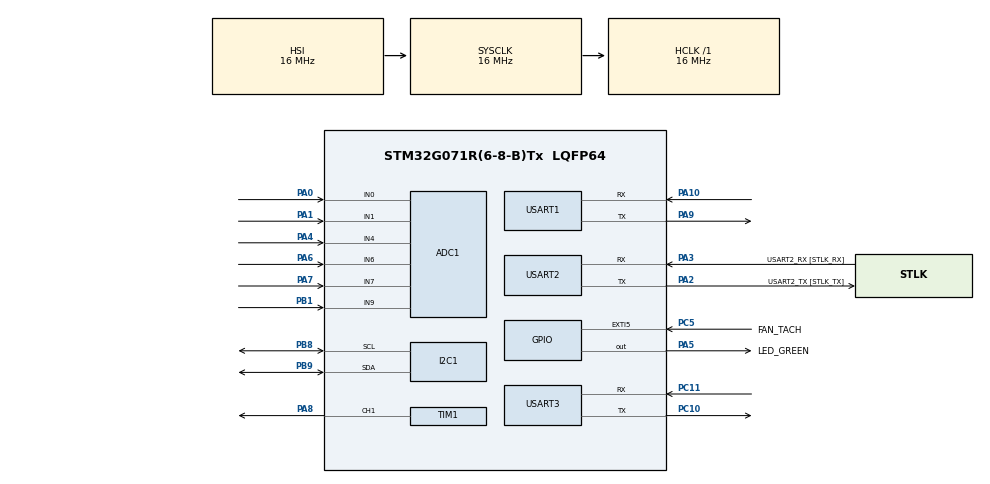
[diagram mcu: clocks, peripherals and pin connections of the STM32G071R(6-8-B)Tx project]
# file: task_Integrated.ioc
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ADC1.Channel-0\#ChannelRegularConversion=ADC_CHANNEL_7
ADC1.Channel-1\#ChannelRegularConversion=ADC_CHANNEL_6
ADC1.Channel-2\#ChannelRegularConversion=ADC_CHANNEL_9
ADC1.Channel-3\#ChannelRegularConversion=ADC_CHANNEL_4
ADC1.Channel-4\#ChannelRegularConversion=ADC_CHANNEL_1
ADC1.Channel-5\#ChannelRegularConversion=ADC_CHANNEL_0
ADC1.NbrOfConversion=6
ADC1.NbrOfConversionFlag=1
ADC1.Rank-0\#ChannelRegularConversion=1
ADC1.Rank-1\#ChannelRegularConversion=2
ADC1.Rank-2\#ChannelRegularConversion=3
ADC1.Rank-3\#ChannelRegularConversion=4
ADC1.Rank-4\#ChannelRegularConversion=5
ADC1.Rank-5\#ChannelRegularConversion=6
ADC1.SamplingTime-0\#ChannelRegularConversion=ADC_SAMPLINGTIME_COMMON_1
ADC1.SamplingTime-1\#ChannelRegularConversion=ADC_SAMPLINGTIME_COMMON_1
ADC1.SamplingTime-2\#ChannelRegularConversion=ADC_SAMPLINGTIME_COMMON_1
ADC1.SamplingTime-3\#ChannelRegularConversion=ADC_SAMPLINGTIME_COMMON_1
ADC1.SamplingTime-4\#ChannelRegularConversion=ADC_SAMPLINGTIME_COMMON_1
ADC1.SamplingTime-5\#ChannelRegularConversion=ADC_SAMPLINGTIME_COMMON_1
ADC1.SamplingTimeCommon1=ADC_SAMPLETIME_160CYCLES_5
ADC1.SamplingTimeCommon2=ADC_SAMPLETIME_160CYCLES_5
ADC1.SelectedChannel=ADC_CHANNEL_0|ADC_CHANNEL_1|ADC_CHANNEL_4|ADC_CHANNEL_6|ADC_CHANNEL_7|ADC_CHANNEL_9
ADC1.master=1
Dma.ADC1.0.Direction=DMA_PERIPH_TO_MEMORY
Dma.ADC1.0.EventEnable=DISABLE
Dma.ADC1.0.Instance=DMA1_Channel1
Dma.ADC1.0.MemDataAlignment=DMA_MDATAALIGN_HALFWORD
Dma.ADC1.0.MemInc=DMA_MINC_ENABLE
Dma.ADC1.0.Mode=DMA_NORMAL
Dma.ADC1.0.PeriphDataAlignment=DMA_PDATAALIGN_HALFWORD
Dma.ADC1.0.PeriphInc=DMA_PINC_DISABLE
Dma.ADC1.0.Polarity=HAL_DMAMUX_REQ_GEN_RISING
Dma.ADC1.0.Priority=DMA_PRIORITY_LOW
Dma.ADC1.0.RequestNumber=1
Dma.ADC1.0.SignalID=NONE
Dma.ADC1.0.SyncEnable=DISABLE
Dma.ADC1.0.SyncPolarity=HAL_DMAMUX_SYNC_NO_EVENT
Dma.ADC1.0.SyncRequestNumber=1
Dma.ADC1.0.SyncSignalID=NONE
Dma.Request0=ADC1
I2C1.Timing=0x00503D58
Mcu.Family=STM32G0
Mcu.Name=STM32G071R(6-8-B)Tx
Mcu.Package=LQFP64
NVIC.DMA1_Channel1_IRQn=true\:0\:0\:false\:false\:true\:false\:true\:true
NVIC.EXTI4_15_IRQn=true\:0\:0\:false\:false\:true\:true\:true\:true
NVIC.USART2_IRQn=true\:0\:0\:false\:false\:true\:true\:true\:true
NVIC.USART3_4_LPUART1_IRQn=true\:0\:0\:false\:false\:true\:true\:true\:true
PA0.Mode=IN0
PA0.Signal=ADC1_IN0
PA1.Mode=IN1
PA1.Signal=ADC1_IN1
PA10.Mode=Asynchronous
PA10.Signal=USART1_RX
PA13.GPIO_Label=TMS
PA13.Mode=Serial_Wire
PA13.Signal=SYS_SWDIO
PA14-BOOT0.GPIO_Label=TCK
PA14-BOOT0.Mode=Serial_Wire
PA14-BOOT0.Signal=SYS_SWCLK
PA2.GPIO_Label=USART2_TX [STLK_TX]
PA2.GPIO_PuPd=GPIO_PULLUP
PA2.Mode=Asynchronous
PA2.Signal=USART2_TX
PA3.GPIO_Label=USART2_RX [STLK_RX]
PA3.GPIO_PuPd=GPIO_PULLUP
PA3.Mode=Asynchronous
PA3.Signal=USART2_RX
PA4.Mode=IN4
PA4.Signal=ADC1_IN4
PA5.GPIO_Label=LED_GREEN
PA5.GPIO_Speed=GPIO_SPEED_FREQ_HIGH
PA5.Signal=GPIO_Output
PA6.Mode=IN6
PA6.Signal=ADC1_IN6
PA7.Mode=IN7
PA7.Signal=ADC1_IN7
PA8.Signal=S_TIM1_CH1
PA9.Mode=Asynchronous
PA9.Signal=USART1_TX
PB1.Mode=IN9
PB1.Signal=ADC1_IN9
PB8.Mode=I2C
PB8.Signal=I2C1_SCL
PB9.Mode=I2C
PB9.Signal=I2C1_SDA
PC10.Mode=Asynchronous
PC10.Signal=USART3_TX
PC11.Mode=Asynchronous
PC11.Signal=USART3_RX
PC13.Mode=SYS_WakeUp1
PC13.Signal=SYS_WKUP2
PC14-OSC32_IN\ (PC14).Mode=LSE-External-Oscillator
PC14-OSC32_IN\ (PC14).Signal=RCC_OSC32_IN
PC15-OSC32_OUT\ (PC15).Mode=LSE-External-Oscillator
PC15-OSC32_OUT\ (PC15).Signal=RCC_OSC32_OUT
PC5.GPIO_Label=FAN_TACH
PC5.GPIO_ModeDefaultEXTI=GPIO_MODE_IT_FALLING
PC5.GPIO_PuPd=GPIO_PULLUP
PC5.Signal=GPXTI5
PF0-OSC_IN\ (PF0).GPIO_Label=MCO
PF0-OSC_IN\ (PF0).Mode=HSE-External-Clock-Source
PF0-OSC_IN\ (PF0).Signal=RCC_OSC_IN
ProjectManager.HeapSize=0x200
ProjectManager.StackSize=0x400
ProjectManager.TargetToolchain=STM32CubeIDE
RCC.AHBFreq_Value=16000000
RCC.CortexFreq_Value=16000000
RCC.EXTERNAL_CLOCK_VALUE=12288000
RCC.HCLKFreq_Value=16000000
RCC.HSE_VALUE=8000000
RCC.HSI_VALUE=16000000
RCC.SYSCLKFreq_VALUE=16000000
RCC.VCOOutputFreq_Value=128000000
SH.S_TIM1_CH1.0=TIM1_CH1,PWM Generation1 CH1
TIM1.Channel-PWM\ Generation1\ CH1=TIM_CHANNEL_1
TIM1.Period=639
USART1.VirtualMode-Asynchronous=VM_ASYNC
USART2.VirtualMode-Asynchronous=VM_ASYNC
USART3.VirtualMode-Asynchronous=VM_ASYNC
VP_TIM1_VS_ClockSourceINT.Mode=Internal
board=NUCLEO-G071RB

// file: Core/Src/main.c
/* USER CODE BEGIN Header */
/**
  ******************************************************************************
  * @file           : main.c
  * @brief          : Integrated Rover STM32 main program.
  ******************************************************************************
  */
/* USER CODE END Header */
#include "main.h"
#include "adc.h"
#include "dma.h"
#include "i2c.h"
#include "tim.h"
#include "usart.h"
#include "gpio.h"

/* USER CODE BEGIN Includes */
#include "esp_protocol.h"
#include "fan_driver.h"
#include "fan_control.h"
#include "motor_manager.h"
#include "rover_heartbeat.h"
#include "rover_housekeeping.h"
#include "rover_protocol.h"
#include "rover_state.h"

#include <stdio.h>
/* USER CODE END Includes */

void SystemClock_Config(void);

/* USER CODE BEGIN 0 */
int __io_putchar(int ch)
{
    uint8_t byte = (uint8_t)ch;
    HAL_UART_Transmit(RoverProtocol_GetReplyUart(), &byte, 1U, HAL_MAX_DELAY);
    return ch;
}
/* USER CODE END 0 */

int main(void)
{

  /* MCU Configuration--------------------------------------------------------*/

  /* Reset of all peripherals, Initializes the Flash interface and the Systick. */
  HAL_Init();

  /* Configure the system clock */
  SystemClock_Config();

  /* Initialize all configured peripherals */
  MX_GPIO_Init();
  MX_DMA_Init();
  MX_USART1_UART_Init();
  MX_USART2_UART_Init();
  MX_ADC1_Init();
  MX_I2C1_Init();
  MX_TIM1_Init();
  MX_USART3_UART_Init();
  /* USER CODE BEGIN 2 */
  RoverState_InitPowerSwitches();

  if (HAL_ADCEx_Calibration_Start(&hadc1) != HAL_OK)
  {
      Error_Handler();
  }

  RoverProtocol_Init(&huart2);
  EspProtocol_Init(&huart3);

  printf("\r\n>>BOOT, OK<<\r\n");
  printf("Integrated STM project started\r\n");
  printf("USART2 is used as temporary Jetson/Tera Term interface\r\n");

  MotorManager_Init();

  FanDriver_Init();
  FanControl_Init();
  RoverHousekeeping_Init(&hadc1);
  /* USER CODE END 2 */

  /* Infinite loop */
  /* USER CODE BEGIN WHILE */
  while (1)
  {
    RoverProtocol_Task();
    RoverProtocol_CheckAliveTimeout();
    EspProtocol_Task();

    Robot_Task();
    MotorManager_Task();

    FanDriver_Task();
    FanControl_Task();

    RoverHousekeeping_Task();
    RoverState_AutoCheckTask();
    RoverState_ModeTask();
    Heartbeat_Task();

    HAL_Delay(5U);
    /* USER CODE END WHILE */

  }
}

void SystemClock_Config(void)
{
  RCC_OscInitTypeDef RCC_OscInitStruct = {0};
  RCC_ClkInitTypeDef RCC_ClkInitStruct = {0};

  /** Configure the main internal regulator output voltage
  */
  HAL_PWREx_ControlVoltageScaling(PWR_REGULATOR_VOLTAGE_SCALE1);

  /** Initializes the RCC Oscillators according to the specified parameters
  * in the RCC_OscInitTypeDef structure.
  */
  RCC_OscInitStruct.OscillatorType = RCC_OSCILLATORTYPE_HSI;
  RCC_OscInitStruct.HSIState = RCC_HSI_ON;
  RCC_OscInitStruct.HSIDiv = RCC_HSI_DIV1;
  RCC_OscInitStruct.HSICalibrationValue = RCC_HSICALIBRATION_DEFAULT;
  RCC_OscInitStruct.PLL.PLLState = RCC_PLL_NONE;
  if (HAL_RCC_OscConfig(&RCC_OscInitStruct) != HAL_OK)
  {
    Error_Handler();
  }

  /** Initializes the CPU, AHB and APB buses clocks
  */
  RCC_ClkInitStruct.ClockType = RCC_CLOCKTYPE_HCLK|RCC_CLOCKTYPE_SYSCLK
                              |RCC_CLOCKTYPE_PCLK1;
  RCC_ClkInitStruct.SYSCLKSource = RCC_SYSCLKSOURCE_HSI;
  RCC_ClkInitStruct.AHBCLKDivider = RCC_SYSCLK_DIV1;
  RCC_ClkInitStruct.APB1CLKDivider = RCC_HCLK_DIV1;

  if (HAL_RCC_ClockConfig(&RCC_ClkInitStruct, FLASH_LATENCY_0) != HAL_OK)
  {
    Error_Handler();
  }
}

void Error_Handler(void)
{
  __disable_irq();
  while (1)
  {
  }
}
